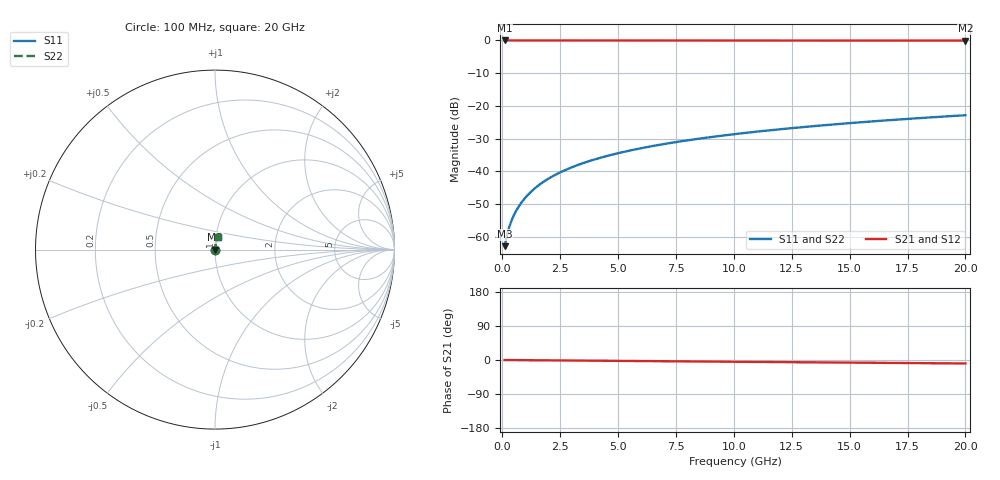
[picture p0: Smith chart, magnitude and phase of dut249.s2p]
! Touchstone file exported from HFSS 2026.1.0
!  File:  C:/ffzhzh/LocalFiles/Ansys_Project_Files/temp_train_BSMRDL_249_1782988563_40604.aedt
!  Generated:  06:37:14 PM Jul  2, 2026
!  Design:  BSMRDL
!  Project:  temp_train_BSMRDL_249_1782988563_40604
! Variables:
!  h_bsmrdl = 4.46um
!  h_ox = 20um
!  h_rdl = 5um
!  h_sub = 80um
!  h_tmrdl = 5um
!  h_tsv = 80um
!  h_via = 3um
!  l_bsmrdl = 117.38um
!  l_sub = 517.38um
!  l_tmrdl = 200um
!  m_sub = 200um
!  pitch = 41.42um
!  r_tsv = 6um
!  s_tmrdl = 10um
!  w_bsmrdl = 24.6um
!  w_sub = 500um
!  w_tmrdl = 12um
!  x_tsv_center1 = 206um
!  x_tsv_center2 = 347.98um
!  x_tsv_center3 = 559.98um
!  x_tsv_center4 = 701.96um
!  x_tsv_center5 = 913.96um
!  x_tsv_center6 = 1055.94um
# GHz S MA R 50.000000
! Terminal data exported
! Port[1] = BSM_RDL1_1_T1
! Port[2] = BSM_RDL1_1_T2
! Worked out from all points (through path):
!   200 points, 100 MHz to 20 GHz, reference 50 ohm
!   highest |S21| = 0.00 dB at 100 MHz (marker M1); lowest = 0.0 dB at 20 GHz (marker M2)
!   group delay of S21, straight-line fit = 1.27 ps
!   lowest |S11| = -62.8 dB at 100 MHz (marker M3), VSWR 1.00, Z = 50.1 + j0.0445 ohm
!   |S11| at or under -10 dB: start of sweep to end of sweep
!   |S22| runs from -62.8 to -22.8 dB; largest |S21 - S12| = 6e-15
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0.1  0.0007219 38.0  0.9994 -0.1  0.9994 -0.1  0.0007219 38.0
! Gamma 0 0 0 0
! Port Impedance 50 0 50 0
0.2  0.001057 54.7  0.9994 -0.1  0.9994 -0.1  0.001057 54.7
0.3  0.001416 62.6  0.9994 -0.1  0.9994 -0.1  0.001416 62.6
0.4  0.001776 67.3  0.9993 -0.2  0.9993 -0.2  0.001776 67.3
0.5  0.002139 70.6  0.9993 -0.2  0.9993 -0.2  0.002139 70.6
0.6  0.002504 73.1  0.9993 -0.3  0.9993 -0.3  0.002504 73.1
0.8  0.003243 76.4  0.9992 -0.4  0.9992 -0.4  0.003243 76.4
1.1  0.004368 79.3  0.9992 -0.5  0.9992 -0.5  0.004368 79.3
1.3  0.005124 80.5  0.9992 -0.6  0.9992 -0.6  0.005124 80.5
1.6  0.006261 81.7  0.9991 -0.8  0.9991 -0.8  0.006261 81.7
2.1  0.008158 82.8  0.9991 -1.0  0.9991 -1.0  0.008158 82.8
2.7  0.01043 83.4  0.999 -1.3  0.999 -1.3  0.01043 83.4
3.5  0.01343 83.6  0.9988 -1.6  0.9988 -1.6  0.01343 83.6
4.2  0.01603 83.6  0.9986 -2.0  0.9986 -2.0  0.01603 83.6
5  0.01898 83.5  0.9985 -2.3  0.9985 -2.3  0.01898 83.5
5.9  0.02227 83.3  0.9982 -2.7  0.9982 -2.7  0.02227 83.3
6.8  0.02553 83.1  0.998 -3.2  0.998 -3.2  0.02553 83.1
8.3  0.03091 82.6  0.9976 -3.8  0.9976 -3.8  0.03091 82.6
10.1  0.03733 82.1  0.9972 -4.7  0.9972 -4.7  0.03733 82.1
13.4  0.04901 81.0  0.9963 -6.2  0.9963 -6.2  0.04901 81.0
16.7  0.06059 79.7  0.9954 -7.6  0.9954 -7.6  0.06059 79.7
20  0.07208 78.4  0.9943 -9.1  0.9943 -9.1  0.07208 78.4
